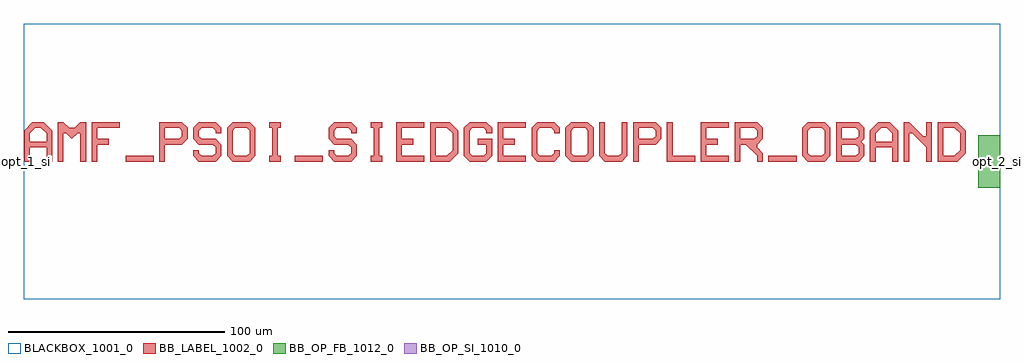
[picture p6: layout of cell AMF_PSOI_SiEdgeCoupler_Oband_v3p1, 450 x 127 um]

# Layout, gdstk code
import gdstk
lib = gdstk.Library(unit=1e-6, precision=1e-09)
def R(c, l, rs):  # rectangles x0, y0, x1, y1
    for r in rs: c.add(gdstk.rectangle(r[:2], r[2:], *l))
def P(c, l, *ps):  # polygons
    for p in ps: c.add(gdstk.Polygon(p, *l))
BLACKBOX_1001_0 = (1001, 0)
BB_LABEL_1002_0 = (1002, 0)
BB_OP_SI_1010_0 = (1010, 0)
BB_OP_FB_1012_0 = (1012, 0)

amf_psoi_siedgecoupler_o = lib.new_cell('AMF_PSOI_SiEdgeCoupler_Oband_v3p1')
R(amf_psoi_siedgecoupler_o, BLACKBOX_1001_0, [(0,-63.5,450,63.5)])
R(amf_psoi_siedgecoupler_o, BB_LABEL_1002_0, [(46.807,-0.009,59.807,2.591), (124.807,-0.009,137.807,2.591), (343.207,-0.009,356.207,2.591)])
P(amf_psoi_siedgecoupler_o, BB_LABEL_1002_0, [(0.007,-0.009),(0.007,14.291),(3.907,18.191),(9.107,18.191),(11.707,15.591),(5.207,15.591),(2.607,12.991),(2.607,9.091),(10.407,9.091),(10.407,12.991),(7.807,15.591),(11.707,15.591),(13.007,14.291),(13.007,-0.009),(10.407,-0.009),(10.407,6.491),(2.607,6.491),(2.607,-0.009)],
  [(15.607,-0.009),(15.607,18.191),(18.207,18.191),(20.807,15.591),(23.407,15.591),(26.007,18.191),(28.607,18.191),(28.607,-0.009),(26.007,-0.009),(26.007,12.991),(24.707,12.991),(22.107,10.391),(19.507,12.991),(18.207,12.991),(18.207,-0.009)],
  [(31.207,-0.009),(31.207,18.191),(44.207,18.191),(44.207,15.591),(33.807,15.591),(33.807,10.391),(39.007,10.391),(39.007,7.791),(33.807,7.791),(33.807,-0.009)],
  [(62.407,-0.009),(62.407,18.191),(72.807,18.191),(75.407,15.591),(75.407,10.391),(72.807,7.791),(65.007,7.791),(65.007,10.391),(71.507,10.391),(72.807,11.691),(72.807,14.291),(71.507,15.591),(65.007,15.591),(65.007,-0.009)],
  [(80.607,-0.009),(78.007,2.591),(78.007,5.191),(80.607,5.191),(80.607,3.891),(81.907,2.591),(87.107,2.591),(88.407,3.891),(88.407,6.491),(87.107,7.791),(80.607,7.791),(78.007,10.391),(78.007,15.591),(80.607,18.191),(88.407,18.191),(91.007,15.591),(91.007,12.991),(88.407,12.991),(88.407,14.291),(87.107,15.591),(81.907,15.591),(80.607,14.291),(80.607,11.691),(81.907,10.391),(88.407,10.391),(91.007,7.791),(91.007,2.591),(88.407,-0.009)],
  [(96.207,-0.009),(93.607,2.591),(93.607,15.591),(96.207,18.191),(104.007,18.191),(106.607,15.591),(106.607,9.091),(104.007,9.091),(104.007,14.291),(102.707,15.591),(97.507,15.591),(96.207,14.291),(96.207,3.891),(97.507,2.591),(102.707,2.591),(104.007,3.891),(104.007,9.091),(106.607,9.091),(106.607,2.591),(104.007,-0.009)],
  [(113.107,-0.009),(113.107,2.591),(114.407,2.591),(114.407,15.591),(113.107,15.591),(113.107,18.191),(118.307,18.191),(118.307,15.591),(117.007,15.591),(117.007,2.591),(118.307,2.591),(118.307,-0.009)],
  [(143.007,-0.009),(140.407,2.591),(140.407,5.191),(143.007,5.191),(143.007,3.891),(144.307,2.591),(149.507,2.591),(150.807,3.891),(150.807,6.491),(149.507,7.791),(143.007,7.791),(140.407,10.391),(140.407,15.591),(143.007,18.191),(150.807,18.191),(153.407,15.591),(153.407,12.991),(150.807,12.991),(150.807,14.291),(149.507,15.591),(144.307,15.591),(143.007,14.291),(143.007,11.691),(144.307,10.391),(150.807,10.391),(153.407,7.791),(153.407,2.591),(150.807,-0.009)],
  [(159.907,-0.009),(159.907,2.591),(161.207,2.591),(161.207,15.591),(159.907,15.591),(159.907,18.191),(165.107,18.191),(165.107,15.591),(163.807,15.591),(163.807,2.591),(165.107,2.591),(165.107,-0.009)],
  [(171.607,-0.009),(171.607,18.191),(184.607,18.191),(184.607,15.591),(174.207,15.591),(174.207,10.391),(179.407,10.391),(179.407,7.791),(174.207,7.791),(174.207,2.591),(184.607,2.591),(184.607,-0.009)],
  [(187.207,-0.009),(187.207,18.191),(196.307,18.191),(198.907,15.591),(189.807,15.591),(189.807,2.591),(195.007,2.591),(197.607,5.191),(197.607,12.991),(195.007,15.591),(198.907,15.591),(200.207,14.291),(200.207,3.891),(196.307,-0.009)],
  [(205.407,-0.009),(202.807,2.591),(202.807,15.591),(205.407,18.191),(213.207,18.191),(215.807,15.591),(215.807,12.991),(213.207,12.991),(213.207,14.291),(211.907,15.591),(206.707,15.591),(205.407,14.291),(205.407,3.891),(206.707,2.591),(211.907,2.591),(213.207,3.891),(213.207,7.791),(209.307,7.791),(209.307,10.391),(215.807,10.391),(215.807,2.591),(213.207,-0.009)],
  [(218.407,-0.009),(218.407,18.191),(231.407,18.191),(231.407,15.591),(221.007,15.591),(221.007,10.391),(226.207,10.391),(226.207,7.791),(221.007,7.791),(221.007,2.591),(231.407,2.591),(231.407,-0.009)],
  [(236.607,-0.009),(234.007,2.591),(234.007,15.591),(236.607,18.191),(244.407,18.191),(247.007,15.591),(247.007,12.991),(244.407,12.991),(244.407,14.291),(243.107,15.591),(237.907,15.591),(236.607,14.291),(236.607,3.891),(237.907,2.591),(243.107,2.591),(244.407,3.891),(244.407,5.191),(247.007,5.191),(247.007,2.591),(244.407,-0.009)],
  [(252.207,-0.009),(249.607,2.591),(249.607,15.591),(252.207,18.191),(260.007,18.191),(262.607,15.591),(262.607,9.091),(260.007,9.091),(260.007,14.291),(258.707,15.591),(253.507,15.591),(252.207,14.291),(252.207,3.891),(253.507,2.591),(258.707,2.591),(260.007,3.891),(260.007,9.091),(262.607,9.091),(262.607,2.591),(260.007,-0.009)],
  [(267.807,-0.009),(265.207,2.591),(265.207,18.191),(267.807,18.191),(267.807,3.891),(269.107,2.591),(274.307,2.591),(275.607,3.891),(275.607,18.191),(278.207,18.191),(278.207,2.591),(275.607,-0.009)],
  [(280.807,-0.009),(280.807,18.191),(291.207,18.191),(293.807,15.591),(293.807,10.391),(291.207,7.791),(283.407,7.791),(283.407,10.391),(289.907,10.391),(291.207,11.691),(291.207,14.291),(289.907,15.591),(283.407,15.591),(283.407,-0.009)],
  [(296.407,-0.009),(296.407,18.191),(299.007,18.191),(299.007,2.591),(309.407,2.591),(309.407,-0.009)],
  [(312.007,-0.009),(312.007,18.191),(325.007,18.191),(325.007,15.591),(314.607,15.591),(314.607,10.391),(319.807,10.391),(319.807,7.791),(314.607,7.791),(314.607,2.591),(325.007,2.591),(325.007,-0.009)],
  [(327.607,-0.009),(327.607,18.191),(338.007,18.191),(340.607,15.591),(330.207,15.591),(330.207,10.391),(336.707,10.391),(338.007,11.691),(338.007,14.291),(336.707,15.591),(340.607,15.591),(340.607,10.391),(338.007,7.791),(338.007,6.491),(340.607,3.891),(340.607,-0.009),(338.007,-0.009),(338.007,2.591),(332.807,7.791),(330.207,7.791),(330.207,-0.009)],
  [(361.407,-0.009),(358.807,2.591),(358.807,15.591),(361.407,18.191),(369.207,18.191),(371.807,15.591),(371.807,9.091),(369.207,9.091),(369.207,14.291),(367.907,15.591),(362.707,15.591),(361.407,14.291),(361.407,3.891),(362.707,2.591),(367.907,2.591),(369.207,3.891),(369.207,9.091),(371.807,9.091),(371.807,2.591),(369.207,-0.009)],
  [(374.407,-0.009),(374.407,18.191),(384.807,18.191),(387.407,15.591),(377.007,15.591),(377.007,10.391),(383.507,10.391),(384.807,11.691),(384.807,14.291),(383.507,15.591),(387.407,15.591),(387.407,10.391),(386.107,9.091),(387.407,7.791),(377.007,7.791),(377.007,2.591),(383.507,2.591),(384.807,3.891),(384.807,6.491),(383.507,7.791),(387.407,7.791),(387.407,2.591),(384.807,-0.009)],
  [(390.007,-0.009),(390.007,14.291),(393.907,18.191),(399.107,18.191),(401.707,15.591),(395.207,15.591),(392.607,12.991),(392.607,9.091),(400.407,9.091),(400.407,12.991),(397.807,15.591),(401.707,15.591),(403.007,14.291),(403.007,-0.009),(400.407,-0.009),(400.407,6.491),(392.607,6.491),(392.607,-0.009)],
  [(405.607,-0.009),(405.607,18.191),(408.207,18.191),(414.707,11.691),(416.007,11.691),(416.007,18.191),(418.607,18.191),(418.607,-0.009),(416.007,-0.009),(416.007,6.491),(409.507,12.991),(408.207,12.991),(408.207,-0.009)],
  [(421.207,-0.009),(421.207,18.191),(430.307,18.191),(432.907,15.591),(423.807,15.591),(423.807,2.591),(429.007,2.591),(431.607,5.191),(431.607,12.991),(429.007,15.591),(432.907,15.591),(434.207,14.291),(434.207,3.891),(430.307,-0.009)])
R(amf_psoi_siedgecoupler_o, BB_OP_SI_1010_0, [(0,-0.205,0.41,0.205)])
R(amf_psoi_siedgecoupler_o, BB_OP_FB_1012_0, [(440,-12,450,12)])
amf_psoi_siedgecoupler_o.add(gdstk.Label('opt_1_si', (0,0), layer=1010, texttype=0))
amf_psoi_siedgecoupler_o.add(gdstk.Label('opt_2_si', (450,0), layer=1012, texttype=0))

lib.write_gds('AMF_PSOI_SiEdgeCoupler_Oband_v3p1.gds')
